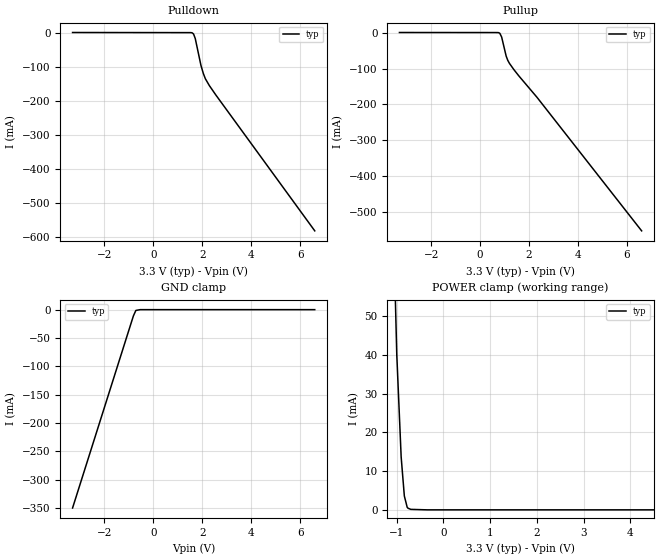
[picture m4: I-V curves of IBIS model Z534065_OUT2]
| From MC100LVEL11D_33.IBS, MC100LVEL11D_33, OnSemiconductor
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| (C) COPYRIGHT 1993-2000
| MENTOR GRAPHICS CORPORATION
| ICX STANDARD LIBRARY, ICX PROJECT MODELING,
| ICX CUSTOM MODELING, ICX VENDOR MODEL
| ALL RIGHTS RESERVED.
| THE FOLLOWING ARE TRADEMARKS OR SERVICE MARKS OF
| MENTOR GRAPHICS CORPORATION:ICX (R), ICX STANDARD
| LIBRARY(R), ICX PROJECT MODELING(R), ICX CUSTOM
| MODELING(R), qualityIBIS(TM), MODELVIEWER(TM),
| AND MODELEDITOR(TM)
| ALL COPIES OF SOFTWARE, INCLUDING BUT NOT LIMITED TO
| ANY MODIFICATIONS, ENHANCEMENTS OR DERIVATIVE WORKS,
| MUST CONTAIN ALL MENTOR GRAPHICS CORPORATION'S
| NOTICES AND LEGENDS, INCLUDING THOSE EMBEDDED IN
| SOFTWARE AND THOSE AFFIXED TO SOFTWARE MEDIUM
| AND CONTAINER, AS RECEIVED FROM MENTOR GRAPHICS
| CORPORATION.
| Model Application Version 1.89 2/18/99.
[Model] Z534065_OUT2
Model_type Output_ECL
Vref=1.300V
Rref=50.00ohms
Cref=0.000F
Vmeas=1.977V
C_comp 1.000pF NA NA
| variable typ   min   max
[Voltage Range] 3.300V NA NA
[POWER Clamp Reference] 3.300V NA NA
[Pullup Reference] 3.300V NA NA
[Pulldown Reference] 3.300V NA NA
[GND Clamp Reference] 0.000V NA NA
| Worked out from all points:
|   GND clamp passes 1 mA (typ) near -0.66 V on its own axis
|   POWER clamp passes 1 mA (typ) near -0.78 V on its own axis
[GND Clamp]
-3.3V     -349.6mA   NA         NA
-813.3mV  -11.01mA   NA         NA
-712.2mV  -1.382mA   NA         NA
-534.1mV  0A         NA         NA
6.6V      0A         NA         NA
[Pulldown]
-3.3V     291.5uA    NA         NA
1.533V    -62.37uA   NA         NA
1.572V    -378.3uA   NA         NA
1.591V    -799.3uA   NA         NA
1.647V    -4.286mA   NA         NA
1.716V    -17.62mA   NA         NA
1.949V    -96.7mA    NA         NA
2.046V    -120.2mA   NA         NA
2.128V    -135.4mA   NA         NA
2.289V    -155.3mA   NA         NA
2.558V    -183.3mA   NA         NA
6.6V      -582mA     NA         NA
[Pullup]
-3.3V     186uA      NA         NA
606mV     40.19uA    NA         NA
805mV     -2.298mA   NA         NA
878mV     -12.51mA   NA         NA
1.062V    -65.37mA   NA         NA
1.127V    -77.08mA   NA         NA
1.379V    -103.2mA   NA         NA
2.323V    -180.2mA   NA         NA
6.6V      -551.8mA   NA         NA
[POWER Clamp]
-3.3V     1.13A      NA         NA
-998mV    40.12mA    NA         NA
-904mV    13.66mA    NA         NA
-836mV    3.575mA    NA         NA
-775mV    663.6uA    NA         NA
-756mV    414.9uA    NA         NA
-697mV    124.1uA    NA         NA
-348.5mV  0A         NA         NA
6.6V      0A         NA         NA
[Ramp]
| variable typ min max
dV/dt_r 486.2m/287.8p NA NA
dV/dt_f 486.2m/219.9p NA NA
R_load = 50.0Ohms
